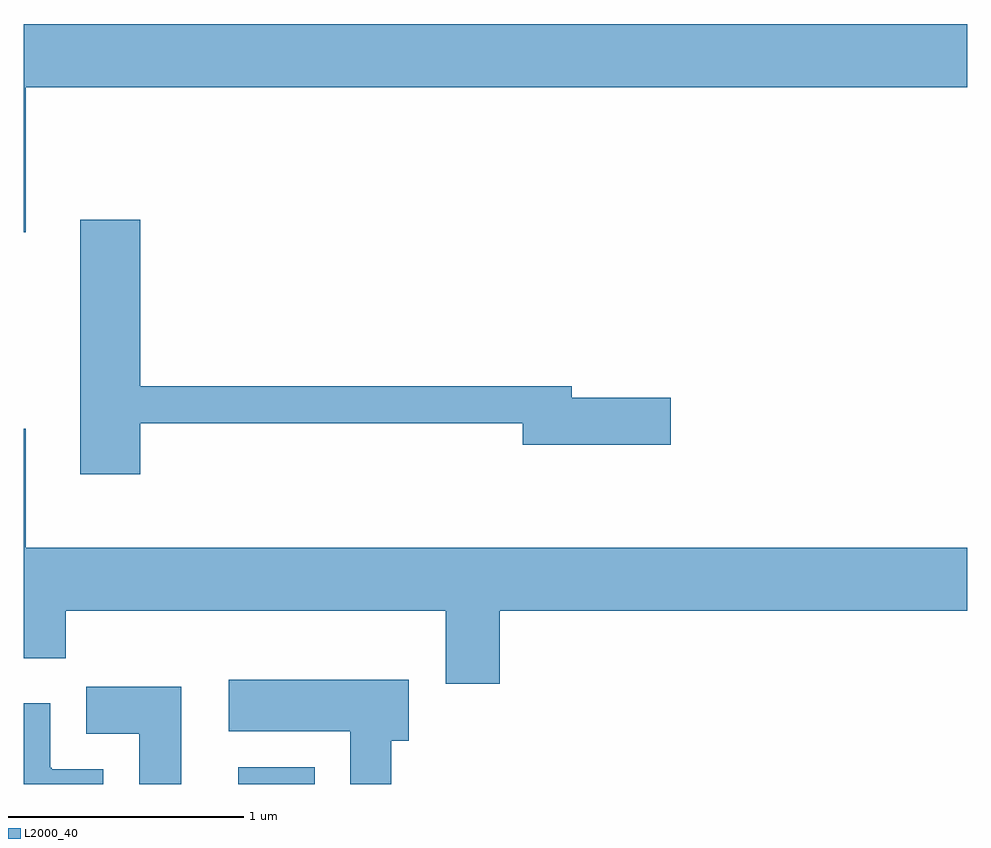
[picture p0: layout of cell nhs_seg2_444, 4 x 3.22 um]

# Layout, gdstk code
import gdstk
lib = gdstk.Library(unit=1e-6, precision=1e-09)
def R(c, l, rs):  # rectangles x0, y0, x1, y1
    for r in rs: c.add(gdstk.rectangle(r[:2], r[2:], *l))
def P(c, l, *ps):  # polygons
    for p in ps: c.add(gdstk.Polygon(p, *l))
L2000_40 = (2000, 40)

nhs_seg2_444 = lib.new_cell('nhs_seg2_444')
R(nhs_seg2_444, L2000_40, [(198.521,1049.802,198.844,1049.874)])
P(nhs_seg2_444, L2000_40, [(197.619,1052.756),(201.611,1052.756),(201.611,1053.024),(197.611,1053.024),(197.611,1052.141),(197.619,1052.141)],
  [(198.104,1051.331),(199.726,1051.331),(199.726,1051.241),(200.354,1051.241),(200.354,1051.439),(199.934,1051.439),(199.934,1051.489),(198.104,1051.489),(198.104,1052.194),(197.851,1052.194),(197.851,1051.116),(198.104,1051.116)],
  [(199.629,1050.536),(201.611,1050.536),(201.611,1050.804),(197.619,1050.804),(197.619,1051.309),(197.611,1051.309),(197.611,1050.336),(197.789,1050.336),(197.789,1050.536),(199.401,1050.536),(199.401,1050.226),(199.629,1050.226)],
  [(199.169,1049.986),(199.244,1049.986),(199.244,1050.244),(198.481,1050.244),(198.481,1050.026),(198.996,1050.026),(198.996,1049.802),(199.169,1049.802)],
  [(198.279,1050.214),(197.876,1050.214),(197.876,1050.016),(198.101,1050.016),(198.101,1049.802),(198.279,1049.802)],
  [(197.949,1049.864),(197.73,1049.864),(197.73,1049.87),(197.724,1049.87),(197.724,1050.144),(197.611,1050.144),(197.611,1049.802),(197.949,1049.802)])

lib.write_gds('nhs_seg2_444.gds')
